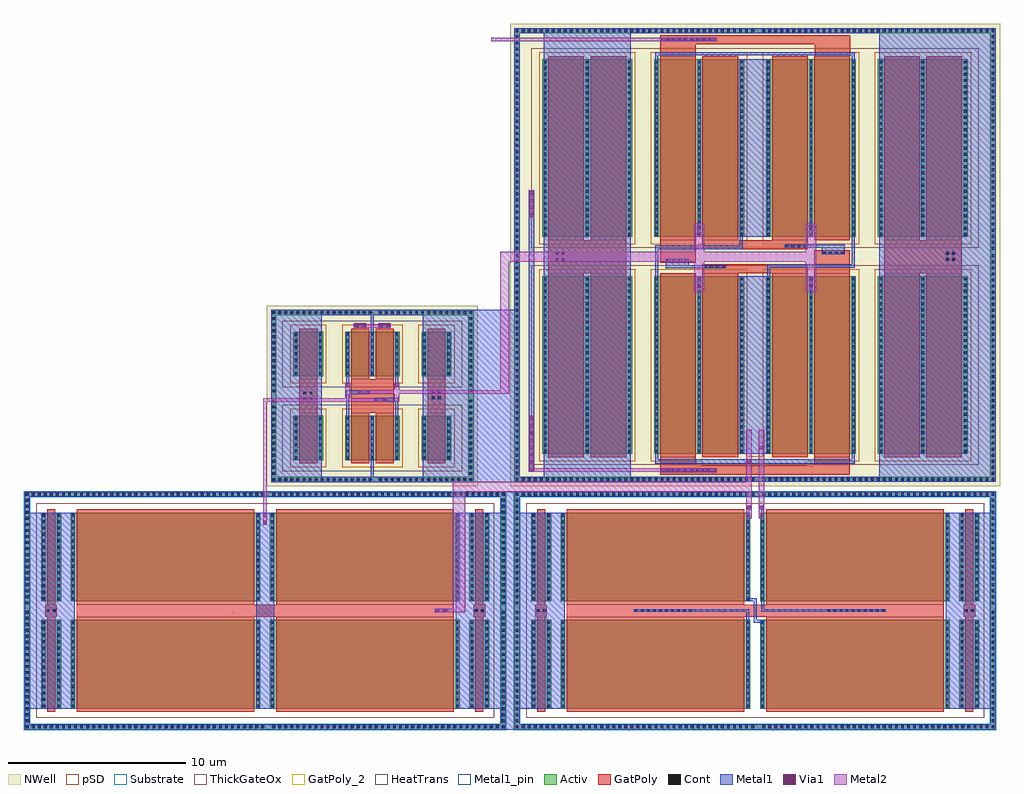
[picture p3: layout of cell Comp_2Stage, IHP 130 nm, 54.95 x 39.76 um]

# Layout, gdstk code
from math import pi, radians
import gdstk
lib = gdstk.Library(unit=1e-6, precision=1e-09)
def R(c, l, rs):  # rectangles x0, y0, x1, y1
    for r in rs: c.add(gdstk.rectangle(r[:2], r[2:], *l))
def A(c, l, x, y, w, h, nx, ny, dx, dy):  # array of equal rectangles
    R(c, l, [(x+i*dx, y+j*dy, x+i*dx+w, y+j*dy+h) for i in range(nx) for j in range(ny)])
def P(c, l, *ps):  # polygons
    for p in ps: c.add(gdstk.Polygon(p, *l))
Activ = (1, 0)
GatPoly = (5, 0)
GatPoly_2 = (5, 2)
Cont = (6, 0)
Metal1 = (8, 0)
Metal1_pin = (8, 2)
Metal2 = (10, 0)
pSD = (14, 0)
Via1 = (19, 0)
NWell = (31, 0)
Substrate = (40, 0)
ThickGateOx = (44, 0)
HeatTrans = (51, 0)

nmoshv_1 = lib.new_cell('nmosHV$1')
R(nmoshv_1, Activ, [(0,0,0.3,0.3), (0,0,10.68,5), (10.38,0,10.68,0.3)])
R(nmoshv_1, GatPoly, [(0.34,-0.18,10.34,5.18)])
R(nmoshv_1, GatPoly_2, [(0.34,-0.18,10.34,5.18)])
A(nmoshv_1, Cont, 0.07, 0.07, 0.16, 0.16, 1, 4, 0, 0.36)
A(nmoshv_1, Cont, 10.45, 0.07, 0.16, 0.16, 1, 4, 0, 0.36)
A(nmoshv_1, Cont, 0.07, 1.515, 0.16, 0.16, 1, 3, 0, 0.36)
A(nmoshv_1, Cont, 10.45, 1.515, 0.16, 0.16, 1, 3, 0, 0.36)
A(nmoshv_1, Cont, 0.07, 2.6, 0.16, 0.16, 1, 3, 0, 0.36)
A(nmoshv_1, Cont, 10.45, 2.6, 0.16, 0.16, 1, 3, 0, 0.36)
A(nmoshv_1, Cont, 0.07, 3.685, 0.16, 0.16, 1, 3, 0, 0.36)
A(nmoshv_1, Cont, 10.45, 3.685, 0.16, 0.16, 1, 3, 0, 0.36)
R(nmoshv_1, Cont, [(0.07,4.77,0.23,4.93), (10.45,4.77,10.61,4.93)])
R(nmoshv_1, Metal1, [(0.07,0,0.23,5), (10.45,0,10.61,5)])
R(nmoshv_1, Metal1_pin, [(0.07,0,0.23,5), (10.45,0,10.61,5)])
R(nmoshv_1, ThickGateOx, [(-0.27,-0.52,10.95,5.52)])
R(nmoshv_1, HeatTrans, [(0.34,-0.18,10.34,5.18)])
nmoshv_1.add(gdstk.Label('nmosHV', (5.34,2.5), layer=63, texttype=0))
nmoshv_1.add(gdstk.Label('nmosHV', (5.34,2.5), layer=51, texttype=0))

via_stack_6 = lib.new_cell('via_stack$6')
R(via_stack_6, GatPoly, [(-1.68,-0.15,1.68,0.15)])
A(via_stack_6, Cont, -1.61, -0.08, 0.16, 0.16, 10, 1, 0.34, 0)
R(via_stack_6, Metal1, [(-1.66,-0.08,1.66,0.08)])

guard_ring_5 = lib.new_cell('guard_ring$5')
R(guard_ring_5, Activ, [(-13.55,-6.4,-13.25,6.4), (13.25,-6.4,13.55,6.4), (-13.55,6.4,13.55,6.7)])
P(guard_ring_5, Activ, [(-13.55,-6.7),(-13.55,6.4),(-13.25,6.4),(-13.25,-6.4),(13.25,-6.4),(13.25,6.4),(-13.55,6.4),(-13.55,6.7),(13.55,6.7),(13.55,-6.7)])
A(guard_ring_5, Cont, -13.48, -6.63, 0.16, 0.16, 39, 2, 0.34, 13.1)
A(guard_ring_5, Cont, 0.06, -6.63, 0.16, 0.16, 40, 2, 0.34, 13.1)
A(guard_ring_5, Cont, -13.48, -6.29, 0.16, 0.16, 1, 18, 0, 0.34)
A(guard_ring_5, Cont, 13.32, -6.29, 0.16, 0.16, 1, 18, 0, 0.34)
A(guard_ring_5, Cont, -13.48, 0.01, 0.16, 0.16, 1, 19, 0, 0.34)
A(guard_ring_5, Cont, 13.32, 0.01, 0.16, 0.16, 1, 19, 0, 0.34)
R(guard_ring_5, Metal1, [(-13.55,-6.7,13.55,-6.4), (-13.55,-6.4,-13.25,6.4), (13.25,-6.4,13.55,6.4), (-13.55,6.4,13.55,6.7)])
R(guard_ring_5, pSD, [(-13.58,-6.37,-13.22,6.37), (13.22,-6.37,13.58,6.37), (-13.58,6.37,13.58,6.73)])
P(guard_ring_5, pSD, [(-13.58,-6.73),(-13.58,6.37),(-13.22,6.37),(-13.22,-6.37),(13.22,-6.37),(13.22,6.37),(-13.58,6.37),(-13.58,6.73),(13.58,6.73),(13.58,-6.73)])
R(guard_ring_5, Substrate, [(-13.58,-6.37,-13.22,6.37), (13.22,-6.37,13.58,6.37), (-13.58,6.37,13.58,6.73)])
P(guard_ring_5, Substrate, [(-13.58,-6.73),(-13.58,6.37),(-13.22,6.37),(-13.22,-6.37),(13.22,-6.37),(13.22,6.37),(-13.58,6.37),(-13.58,6.73),(13.58,6.73),(13.58,-6.73)])
guard_ring_5.add(gdstk.Label('sub!', (0,-6.55), layer=63, texttype=0))

pmoshv = lib.new_cell('pmosHV')
A(pmoshv, Activ, 0, 0, 0.3, 0.3, 3, 1, 2.38, 0)
R(pmoshv, Activ, [(0,0,5.06,10)])
R(pmoshv, GatPoly, [(0.34,-0.18,2.34,10.18), (2.72,-0.18,4.72,10.18)])
R(pmoshv, GatPoly_2, [(0.34,-0.18,2.34,10.18)])
A(pmoshv, Cont, 0.07, 0.07, 0.16, 0.16, 3, 4, 2.38, 0.345)
A(pmoshv, Cont, 0.07, 1.455, 0.16, 0.16, 3, 3, 2.38, 0.345)
A(pmoshv, Cont, 0.07, 2.495, 0.16, 0.16, 3, 4, 2.38, 0.345)
A(pmoshv, Cont, 0.07, 3.88, 0.16, 0.16, 3, 3, 2.38, 0.345)
A(pmoshv, Cont, 0.07, 4.92, 0.16, 0.16, 3, 4, 2.38, 0.345)
A(pmoshv, Cont, 0.07, 6.305, 0.16, 0.16, 3, 3, 2.38, 0.345)
A(pmoshv, Cont, 0.07, 7.345, 0.16, 0.16, 3, 4, 2.38, 0.345)
A(pmoshv, Cont, 0.07, 8.73, 0.16, 0.16, 3, 3, 2.38, 0.345)
A(pmoshv, Cont, 0.07, 9.77, 0.16, 0.16, 3, 1, 2.38, 0)
A(pmoshv, Metal1, 0.07, 0, 0.16, 10, 3, 1, 2.38, 0)
R(pmoshv, Metal1_pin, [(0.07,0,0.23,10), (2.45,0,2.61,10)])
R(pmoshv, pSD, [(-0.18,-0.4,5.24,10.4)])
R(pmoshv, NWell, [(-0.62,-0.62,5.68,10.62)])
R(pmoshv, ThickGateOx, [(-0.62,-0.62,5.68,10.62)])
R(pmoshv, HeatTrans, [(0.34,-0.18,2.34,10.18), (2.72,-0.18,4.72,10.18)])
pmoshv.add(gdstk.Label('pmosHV', (1.34,5), layer=63, texttype=0))
pmoshv.add(gdstk.Label('pmos', (1.34,5), layer=51, texttype=0))
pmoshv.add(gdstk.Label('pmos', (3.72,5), layer=51, texttype=0))

via_stack_3_1 = lib.new_cell('via_stack$3$1')
R(via_stack_3_1, GatPoly, [(-0.66,-0.15,0.66,0.15)])
A(via_stack_3_1, Cont, -0.59, -0.08, 0.16, 0.16, 4, 1, 0.34, 0)
R(via_stack_3_1, Metal1, [(-0.64,-0.08,0.64,0.08)])

via_stack_5_1 = lib.new_cell('via_stack$5$1')
R(via_stack_5_1, Metal1, [(-0.145,-0.105,0.145,0.105)])
R(via_stack_5_1, Metal2, [(-0.145,-0.1,0.145,0.1)])
R(via_stack_5_1, Via1, [(-0.095,-0.095,0.095,0.095)])

via_stack_10 = lib.new_cell('via_stack$10')
R(via_stack_10, GatPoly, [(-0.32,-0.32,0.32,0.32)])
R(via_stack_10, Cont, [(-0.25,-0.25,-0.09,-0.09), (0.09,-0.25,0.25,-0.09), (-0.25,0.09,-0.09,0.25), (0.09,0.09,0.25,0.25)])
R(via_stack_10, Metal1, [(-0.3,-0.25,0.3,0.25)])

nmoshv_3 = lib.new_cell('nmosHV$3')
R(nmoshv_3, Activ, [(0,0,0.3,0.3), (0,0,1.13,5), (0.83,0,1.13,0.3)])
R(nmoshv_3, GatPoly, [(0.34,-0.18,0.79,5.18)])
R(nmoshv_3, GatPoly_2, [(0.34,-0.18,0.79,5.18)])
A(nmoshv_3, Cont, 0.07, 0.07, 0.16, 0.16, 1, 4, 0, 0.36)
A(nmoshv_3, Cont, 0.9, 0.07, 0.16, 0.16, 1, 4, 0, 0.36)
A(nmoshv_3, Cont, 0.07, 1.515, 0.16, 0.16, 1, 3, 0, 0.36)
A(nmoshv_3, Cont, 0.9, 1.515, 0.16, 0.16, 1, 3, 0, 0.36)
A(nmoshv_3, Cont, 0.07, 2.6, 0.16, 0.16, 1, 3, 0, 0.36)
A(nmoshv_3, Cont, 0.9, 2.6, 0.16, 0.16, 1, 3, 0, 0.36)
A(nmoshv_3, Cont, 0.07, 3.685, 0.16, 0.16, 1, 3, 0, 0.36)
A(nmoshv_3, Cont, 0.9, 3.685, 0.16, 0.16, 1, 3, 0, 0.36)
R(nmoshv_3, Cont, [(0.07,4.77,0.23,4.93), (0.9,4.77,1.06,4.93)])
R(nmoshv_3, Metal1, [(0.07,0,0.23,5), (0.9,0,1.06,5)])
R(nmoshv_3, Metal1_pin, [(0.07,0,0.23,5), (0.9,0,1.06,5)])
R(nmoshv_3, ThickGateOx, [(-0.27,-0.52,1.4,5.52)])
R(nmoshv_3, HeatTrans, [(0.34,-0.18,0.79,5.18)])
nmoshv_3.add(gdstk.Label('nmosHV', (0.565,2.5), layer=63, texttype=0))
nmoshv_3.add(gdstk.Label('nmosHV', (0.565,2.5), layer=51, texttype=0))

via_stack_11 = lib.new_cell('via_stack$11')
R(via_stack_11, GatPoly, [(-0.32,-0.15,0.32,0.15)])
R(via_stack_11, Cont, [(-0.25,-0.08,-0.09,0.08), (0.09,-0.08,0.25,0.08)])
R(via_stack_11, Metal1, [(-0.3,-0.08,0.3,0.08)])

via_stack_4_1 = lib.new_cell('via_stack$4$1')
R(via_stack_4_1, GatPoly, [(-0.32,-0.15,0.32,0.15)])
R(via_stack_4_1, Cont, [(-0.25,-0.08,-0.09,0.08), (0.09,-0.08,0.25,0.08)])
R(via_stack_4_1, Metal1, [(-0.35,-0.105,0.35,0.105)])
R(via_stack_4_1, Metal2, [(-0.35,-0.1,0.35,0.1)])
R(via_stack_4_1, Via1, [(-0.3,-0.095,-0.11,0.095), (0.11,-0.095,0.3,0.095)])

pmoshv_2 = lib.new_cell('pmosHV$2')
A(pmoshv_2, Activ, 0, 0, 0.3, 0.3, 3, 1, 1.38, 0)
R(pmoshv_2, Activ, [(0,0,3.06,2.5)])
R(pmoshv_2, GatPoly, [(0.34,-0.18,1.34,2.68), (1.72,-0.18,2.72,2.68)])
R(pmoshv_2, GatPoly_2, [(0.34,-0.18,1.34,2.68)])
A(pmoshv_2, Cont, 0.07, 0.07, 0.16, 0.16, 3, 3, 1.38, 0.365)
A(pmoshv_2, Cont, 0.07, 1.17, 0.16, 0.16, 3, 3, 1.38, 0.365)
A(pmoshv_2, Cont, 0.07, 2.27, 0.16, 0.16, 3, 1, 1.38, 0)
A(pmoshv_2, Metal1, 0.07, 0, 0.16, 2.5, 3, 1, 1.38, 0)
R(pmoshv_2, Metal1_pin, [(0.07,0,0.23,2.5), (1.45,0,1.61,2.5)])
R(pmoshv_2, pSD, [(-0.18,-0.4,3.24,2.9)])
R(pmoshv_2, NWell, [(-0.62,-0.62,3.68,3.12)])
R(pmoshv_2, ThickGateOx, [(-0.62,-0.62,3.68,3.12)])
R(pmoshv_2, HeatTrans, [(0.34,-0.18,1.34,2.68), (1.72,-0.18,2.72,2.68)])
pmoshv_2.add(gdstk.Label('pmosHV', (0.84,1.25), layer=63, texttype=0))
pmoshv_2.add(gdstk.Label('pmos', (0.84,1.25), layer=51, texttype=0))
pmoshv_2.add(gdstk.Label('pmos', (2.22,1.25), layer=51, texttype=0))

pmoshv_4 = lib.new_cell('pmosHV$4')
R(pmoshv_4, Activ, [(0,0,0.3,0.3), (0,0,1.68,2.5), (1.38,0,1.68,0.3)])
R(pmoshv_4, GatPoly, [(0.34,-0.18,1.34,2.68)])
R(pmoshv_4, GatPoly_2, [(0.34,-0.18,1.34,2.68)])
A(pmoshv_4, Cont, 0.07, 0.07, 0.16, 0.16, 1, 3, 0, 0.365)
A(pmoshv_4, Cont, 1.45, 0.07, 0.16, 0.16, 1, 3, 0, 0.365)
A(pmoshv_4, Cont, 0.07, 1.17, 0.16, 0.16, 1, 3, 0, 0.365)
A(pmoshv_4, Cont, 1.45, 1.17, 0.16, 0.16, 1, 3, 0, 0.365)
R(pmoshv_4, Cont, [(0.07,2.27,0.23,2.43), (1.45,2.27,1.61,2.43)])
R(pmoshv_4, Metal1, [(0.07,0,0.23,2.5), (1.45,0,1.61,2.5)])
R(pmoshv_4, Metal1_pin, [(0.07,0,0.23,2.5), (1.45,0,1.61,2.5)])
R(pmoshv_4, pSD, [(-0.18,-0.4,1.86,2.9)])
R(pmoshv_4, NWell, [(-0.62,-0.62,2.3,3.12)])
R(pmoshv_4, ThickGateOx, [(-0.62,-0.62,2.3,3.12)])
R(pmoshv_4, HeatTrans, [(0.34,-0.18,1.34,2.68)])
pmoshv_4.add(gdstk.Label('pmosHV', (0.84,1.25), layer=63, texttype=0))
pmoshv_4.add(gdstk.Label('pmos', (0.84,1.25), layer=51, texttype=0))

via_stack_14 = lib.new_cell('via_stack$14')
R(via_stack_14, Metal1, [(-0.35,-0.105,0.35,0.105)])
R(via_stack_14, Metal2, [(-0.35,-0.1,0.35,0.1)])
R(via_stack_14, Via1, [(-0.3,-0.095,-0.11,0.095), (0.11,-0.095,0.3,0.095)])

guard_ring_3_1 = lib.new_cell('guard_ring$3$1')
R(guard_ring_3_1, Activ, [(-13.55,-12.475,-13.25,12.475), (13.25,-12.475,13.55,12.475), (-13.55,12.475,13.55,12.775)])
P(guard_ring_3_1, Activ, [(-13.55,-12.775),(-13.55,12.475),(-13.25,12.475),(-13.25,-12.475),(13.25,-12.475),(13.25,12.475),(-13.55,12.475),(-13.55,12.775),(13.55,12.775),(13.55,-12.775)])
A(guard_ring_3_1, Cont, -13.48, -12.705, 0.16, 0.16, 39, 2, 0.34, 25.25)
A(guard_ring_3_1, Cont, 0.06, -12.705, 0.16, 0.16, 40, 2, 0.34, 25.25)
A(guard_ring_3_1, Cont, -13.48, -12.365, 0.16, 0.16, 1, 36, 0, 0.34)
A(guard_ring_3_1, Cont, 13.32, -12.365, 0.16, 0.16, 1, 36, 0, 0.34)
A(guard_ring_3_1, Cont, -13.48, -0.035, 0.16, 0.16, 1, 37, 0, 0.34)
A(guard_ring_3_1, Cont, 13.32, -0.035, 0.16, 0.16, 1, 37, 0, 0.34)
R(guard_ring_3_1, Metal1, [(-13.55,-12.775,13.55,-12.475), (-13.55,-12.475,-13.25,12.475), (13.25,-12.475,13.55,12.475), (-13.55,12.475,13.55,12.775)])
R(guard_ring_3_1, NWell, [(-13.79,-13.015,13.79,13.015)])
guard_ring_3_1.add(gdstk.Label('well', (0,-12.625), layer=63, texttype=0))

guard_ring_4 = lib.new_cell('guard_ring$4')
R(guard_ring_4, Activ, [(-5.7,-4.55,-5.4,4.55), (5.4,-4.55,5.7,4.55), (-5.7,4.55,5.7,4.85)])
P(guard_ring_4, Activ, [(-5.7,-4.85),(-5.7,4.55),(-5.4,4.55),(-5.4,-4.55),(5.4,-4.55),(5.4,4.55),(-5.7,4.55),(-5.7,4.85),(5.7,4.85),(5.7,-4.85)])
A(guard_ring_4, Cont, -5.63, -4.78, 0.16, 0.16, 16, 2, 0.34, 9.4)
A(guard_ring_4, Cont, 0.03, -4.78, 0.16, 0.16, 17, 2, 0.34, 9.4)
A(guard_ring_4, Cont, -5.63, -4.44, 0.16, 0.16, 1, 13, 0, 0.34)
A(guard_ring_4, Cont, 5.47, -4.44, 0.16, 0.16, 1, 13, 0, 0.34)
A(guard_ring_4, Cont, -5.63, 0.2, 0.16, 0.16, 1, 13, 0, 0.34)
A(guard_ring_4, Cont, 5.47, 0.2, 0.16, 0.16, 1, 13, 0, 0.34)
R(guard_ring_4, Metal1, [(-5.7,-4.85,5.7,-4.55), (-5.7,-4.55,-5.4,4.55), (5.4,-4.55,5.7,4.55), (-5.7,4.55,5.7,4.85)])
R(guard_ring_4, NWell, [(-5.94,-5.09,5.94,5.09)])
guard_ring_4.add(gdstk.Label('well', (0,-4.7), layer=63, texttype=0))

via_stack_24 = lib.new_cell('via_stack$24')
R(via_stack_24, GatPoly, [(-1.34,-0.15,1.34,0.15)])
A(via_stack_24, Cont, -1.27, -0.08, 0.16, 0.16, 8, 1, 0.34, 0)
R(via_stack_24, Metal1, [(-1.58,-0.105,1.58,0.105)])
R(via_stack_24, Metal2, [(-1.58,-0.1,1.58,0.1)])
A(via_stack_24, Via1, -1.53, -0.095, 0.19, 0.19, 8, 1, 0.41, 0)

via_stack_25 = lib.new_cell('via_stack$25')
R(via_stack_25, Metal1, [(-0.105,-1.58,0.105,1.58)])
R(via_stack_25, Metal2, [(-0.1,-1.58,0.1,1.58)])
A(via_stack_25, Via1, -0.095, -1.53, 0.19, 0.19, 1, 8, 0, 0.41)

via_stack_27 = lib.new_cell('via_stack$27')
R(via_stack_27, Metal1, [(-0.105,-0.76,0.105,0.76)])
R(via_stack_27, Metal2, [(-0.1,-0.76,0.1,0.76)])
A(via_stack_27, Via1, -0.095, -0.71, 0.19, 0.19, 1, 4, 0, 0.41)

via_stack_29 = lib.new_cell('via_stack$29')
R(via_stack_29, GatPoly, [(-0.32,-0.15,0.32,0.15)])
R(via_stack_29, Cont, [(-0.25,-0.08,-0.09,0.08), (0.09,-0.08,0.25,0.08)])
R(via_stack_29, Metal1, [(-0.35,-0.105,0.35,0.105)])
R(via_stack_29, Metal2, [(-0.35,-0.1,0.35,0.1)])
R(via_stack_29, Via1, [(-0.3,-0.095,-0.11,0.095), (0.11,-0.095,0.3,0.095)])

via_stack_8 = lib.new_cell('via_stack$8')
R(via_stack_8, Metal1, [(-0.105,-0.35,0.105,0.35)])
R(via_stack_8, Metal2, [(-0.1,-0.35,0.1,0.35)])
R(via_stack_8, Via1, [(-0.095,-0.3,0.095,-0.11), (-0.095,0.11,0.095,0.3)])

comp_2stage = lib.new_cell('Comp_2Stage')
R(comp_2stage, GatPoly, [(-208.97,-56.455,-208.33,-55.775), (-207.205,-56.455,-185.985,-55.775), (-184.86,-56.455,-184.22,-55.775), (-181.38,-56.455,-180.74,-55.775), (-179.615,-56.455,-158.395,-55.775), (-157.27,-56.455,-156.63,-55.775), (-174.355,-48.475,-163.675,-47.975), (-174.355,-48.475,-172.355,-47.475), (-165.675,-48.475,-163.675,-47.475), (-194.67,-44.975,-193.67,-43.095), (-191.745,-44.975,-189.365,-43.095), (-187.45,-44.975,-186.45,-43.095), (-180.655,-37.115,-176.275,-35.26), (-171.975,-37.115,-166.055,-36.615), (-165.675,-37.115,-163.675,-35.835), (-161.755,-37.115,-157.375,-35.26), (-174.355,-36.54,-172.355,-35.26), (-171.975,-35.76,-166.055,-35.26), (-174.345,-24.9,-172.355,-23.72), (-165.665,-24.9,-163.665,-23.72), (-174.345,-24.22,-163.665,-23.72)])
P(comp_2stage, GatPoly, [(-167.55,-48.005),(-167.55,-48.005),(-167.55,-48.005),(-167.55,-48.005)])
P(comp_2stage, GatPoly_2, [(-176.25,-56.12),(-176.25,-56.12),(-176.25,-56.12),(-176.25,-56.12)],
  [(-176.275,-56.08),(-176.275,-56.08),(-176.275,-56.08),(-176.275,-56.08)],
  [(-203.84,-56.12),(-203.84,-56.12),(-203.84,-56.12),(-203.84,-56.12)],
  [(-203.865,-56.08),(-203.865,-56.08),(-203.865,-56.08),(-203.865,-56.08)])
R(comp_2stage, Metal1, [(-183.345,-62.815,-182.265,-49.415), (-210.145,-61.635,-207.315,-50.595), (-197.095,-61.635,-196.095,-50.595), (-185.875,-61.635,-183.045,-50.595), (-182.555,-61.635,-179.725,-50.595), (-169.505,-61.635,-169.345,-56.635), (-168.665,-61.635,-168.505,-56.635), (-158.285,-61.635,-155.455,-50.595), (-169.085,-56.795,-168.505,-56.635), (-169.085,-56.795,-168.925,-55.435), (-169.505,-56.655,-169.345,-56.035), (-175.845,-56.195,-169.345,-56.035), (-168.665,-56.195,-162.165,-56.035), (-168.665,-56.195,-168.505,-55.575), (-169.505,-55.595,-168.925,-55.435), (-169.505,-55.595,-169.345,-50.595), (-168.665,-55.595,-168.505,-50.595), (-169.505,-50.595,-169.345,-50.205), (-168.665,-50.595,-168.505,-50.205), (-190.64,-48.885,-190.48,-45.165), (-187.72,-48.885,-184.865,-39.185), (-185.19,-48.885,-182.265,-39.185), (-196.265,-48.88,-193.4,-39.18), (-180.925,-48.875,-176.005,-23.325), (-162.025,-48.87,-155.465,-23.32), (-181.745,-48.31,-181.445,-32.46), (-174.625,-47.845,-163.405,-47.605), (-174.625,-47.845,-174.465,-47.245), (-163.565,-47.845,-163.405,-47.245), (-169.865,-47.295,-168.165,-37.295), (-189.26,-45.205,-189.1,-44.145), (-192.02,-45.2,-191.86,-43.715), (-189.76,-44.355,-189.11,-44.145), (-192.02,-43.925,-191.345,-43.715), (-192.02,-43.53,-191.86,-42.915), (-189.26,-43.53,-189.1,-42.915), (-190.64,-42.905,-190.48,-39.185), (-174.625,-37.365,-174.465,-35.55), (-168.325,-37.355,-168.165,-36.605), (-174.035,-36.845,-172.755,-36.32), (-174.035,-36.845,-171.9,-36.685), (-168.325,-36.825,-163.405,-36.605), (-163.565,-36.825,-163.405,-35.01), (-165.25,-36.06,-163.97,-35.53), (-174.625,-35.77,-169.705,-35.55), (-169.865,-35.77,-169.705,-35.015), (-166.12,-35.69,-163.97,-35.53), (-169.865,-35.08,-168.165,-25.08), (-163.565,-25.155,-163.405,-24.68), (-174.625,-25.15,-174.465,-24.68), (-174.625,-24.84,-163.405,-24.68)])
P(comp_2stage, Metal1, [(-170.815,-56.09),(-170.815,-56.09),(-170.815,-56.09),(-170.815,-56.09)],
  [(-170.815,-56.225),(-170.815,-56.21),(-170.815,-56.21),(-170.815,-56.225)],
  [(-165.645,-36.825),(-165.645,-36.825),(-165.645,-36.825),(-165.645,-36.825)],
  [(-198.405,-56.09),(-198.405,-56.09),(-198.405,-56.09),(-198.405,-56.09)],
  [(-198.405,-56.225),(-198.405,-56.21),(-198.405,-56.21),(-198.405,-56.225)],
  [(-190.48,-48.145),(-190.48,-48.145),(-190.48,-48.145),(-190.48,-48.145)],
  [(-190.48,-48.145),(-190.48,-48.145),(-190.48,-48.145),(-190.48,-48.145)],
  [(-193.66,-48.39),(-193.66,-48.39),(-193.66,-48.39),(-193.66,-48.39)])
R(comp_2stage, Metal2, [(-187.05,-56.215,-185.345,-56.015), (-186.045,-56.215,-185.345,-48.875), (-196.695,-51.295,-196.495,-44.15), (-169.505,-50.93,-169.215,-45.93), (-168.795,-50.93,-168.505,-45.93), (-186.045,-49.415,-169.215,-48.875), (-169.505,-49.415,-169.215,-48.875), (-181.695,-48.31,-174.33,-48.11), (-196.695,-44.35,-190.12,-44.15), (-192.095,-44.35,-189.76,-44.15), (-192.095,-44.35,-191.805,-43.325), (-189.335,-44.35,-189.045,-43.325), (-191.385,-43.92,-183.47,-43.72), (-183.47,-43.92,-182.865,-43.72), (-183.365,-43.92,-182.865,-35.9), (-191.6,-40.185,-189.52,-39.985), (-172.45,-38.2,-171.88,-34.315), (-166.15,-38.2,-165.58,-34.315), (-183.365,-36.47,-172.45,-35.9), (-172.45,-36.47,-165.58,-35.9), (-183.86,-24.06,-171.17,-23.86)])
P(comp_2stage, Metal2, [(-169.455,-45.23),(-169.455,-45.23),(-169.455,-45.23),(-169.455,-45.23)],
  [(-190.96,-44.27),(-190.96,-44.27),(-190.96,-44.27),(-190.96,-44.27)])
R(comp_2stage, pSD, [(-172.025,-47.925,-166.105,-47.425)])
comp_2stage.add(gdstk.Reference(nmoshv_1, (-169.275,-50.595), rotation=pi))
comp_2stage.add(gdstk.Reference(nmoshv_1, (-169.275,-56.635), rotation=pi))
comp_2stage.add(gdstk.Reference(nmoshv_1, (-158.055,-50.595), rotation=pi))
comp_2stage.add(gdstk.Reference(nmoshv_1, (-158.055,-56.635), rotation=pi))
comp_2stage.add(gdstk.Reference(via_stack_6, (-174.185,-56.115), rotation=pi))
comp_2stage.add(gdstk.Reference(via_stack_6, (-163.33,-56.115), rotation=pi))
comp_2stage.add(gdstk.Reference(guard_ring_5, (-169.015,-56.115), rotation=pi))
comp_2stage.add(gdstk.Reference(pmoshv, (-174.695,-35.08)))
comp_2stage.add(gdstk.Reference(pmoshv, (-168.395,-35.08)))
comp_2stage.add(gdstk.Reference(pmoshv, (-162.095,-35.08)))
comp_2stage.add(gdstk.Reference(pmoshv, (-162.095,-47.295)))
comp_2stage.add(gdstk.Reference(pmoshv, (-174.695,-47.295)))
comp_2stage.add(gdstk.Reference(pmoshv, (-180.995,-35.08)))
comp_2stage.add(gdstk.Reference(pmoshv, (-180.995,-47.295)))
comp_2stage.add(gdstk.Reference(via_stack_3_1, (-173.395,-36.39), rotation=pi))
comp_2stage.add(gdstk.Reference(via_stack_3_1, (-171.315,-36.765), rotation=pi))
comp_2stage.add(gdstk.Reference(via_stack_3_1, (-166.715,-35.61), rotation=pi))
comp_2stage.add(gdstk.Reference(via_stack_3_1, (-164.61,-35.985), rotation=pi))
comp_2stage.add(gdstk.Reference(via_stack_5_1, (-169.36,-50.31), rotation=pi))
comp_2stage.add(gdstk.Reference(via_stack_5_1, (-168.65,-50.31), rotation=pi))
comp_2stage.add(gdstk.Reference(via_stack_5_1, (-169.36,-47.725), rotation=pi))
comp_2stage.add(gdstk.Reference(via_stack_5_1, (-168.65,-46.95), rotation=pi))
comp_2stage.add(gdstk.Reference(via_stack_10, (-180,-36.185), rotation=pi))
comp_2stage.add(gdstk.Reference(via_stack_10, (-158.015,-36.17), rotation=pi))
comp_2stage.add(gdstk.Reference(nmoshv_3, (-156.385,-50.595), rotation=pi))
comp_2stage.add(gdstk.Reference(nmoshv_3, (-156.385,-56.635), rotation=pi))
comp_2stage.add(gdstk.Reference(via_stack_11, (-156.95,-56.115), rotation=pi))
comp_2stage.add(gdstk.Reference(nmoshv_3, (-180.495,-50.595), rotation=pi))
comp_2stage.add(gdstk.Reference(nmoshv_3, (-180.495,-56.635), rotation=pi))
comp_2stage.add(gdstk.Reference(via_stack_11, (-181.06,-56.115), rotation=pi))
comp_2stage.add(gdstk.Reference(nmoshv_1, (-196.865,-50.595), rotation=pi))
comp_2stage.add(gdstk.Reference(nmoshv_1, (-196.865,-56.635), rotation=pi))
comp_2stage.add(gdstk.Reference(nmoshv_1, (-185.645,-50.595), rotation=pi))
comp_2stage.add(gdstk.Reference(nmoshv_1, (-185.645,-56.635), rotation=pi))
comp_2stage.add(gdstk.Reference(via_stack_4_1, (-186.7,-56.115), rotation=pi))
comp_2stage.add(gdstk.Reference(pmoshv_2, (-189.03,-40.415), rotation=pi))
comp_2stage.add(gdstk.Reference(guard_ring_5, (-196.595,-56.115), rotation=pi))
comp_2stage.add(gdstk.Reference(pmoshv_2, (-189.03,-45.155), rotation=pi))
comp_2stage.add(gdstk.Reference(nmoshv_3, (-183.975,-50.595), rotation=pi))
comp_2stage.add(gdstk.Reference(nmoshv_3, (-183.975,-56.635), rotation=pi))
comp_2stage.add(gdstk.Reference(via_stack_11, (-184.54,-56.115), rotation=pi))
comp_2stage.add(gdstk.Reference(nmoshv_3, (-208.085,-50.595), rotation=pi))
comp_2stage.add(gdstk.Reference(nmoshv_3, (-208.085,-56.635), rotation=pi))
comp_2stage.add(gdstk.Reference(via_stack_11, (-208.65,-56.115), rotation=pi))
comp_2stage.add(gdstk.Reference(pmoshv_4, (-186.11,-45.155), rotation=pi))
comp_2stage.add(gdstk.Reference(pmoshv_4, (-193.33,-40.415), rotation=pi))
comp_2stage.add(gdstk.Reference(pmoshv_4, (-193.33,-45.155), rotation=pi))
comp_2stage.add(gdstk.Reference(via_stack_10, (-186.96,-43.965), rotation=pi))
comp_2stage.add(gdstk.Reference(pmoshv_4, (-186.11,-40.415), rotation=pi))
comp_2stage.add(gdstk.Reference(via_stack_10, (-194.19,-44.035), rotation=pi))
comp_2stage.add(gdstk.Reference(via_stack_14, (-191.035,-43.82), rotation=pi))
comp_2stage.add(gdstk.Reference(via_stack_14, (-190.11,-44.25), rotation=pi))
comp_2stage.add(gdstk.Reference(via_stack_5_1, (-191.95,-43.425), rotation=pi))
comp_2stage.add(gdstk.Reference(via_stack_5_1, (-189.19,-43.425), rotation=pi))
comp_2stage.add(gdstk.Reference(guard_ring_3_1, (-169.015,-36.1), rotation=pi))
comp_2stage.add(gdstk.Reference(guard_ring_4, (-190.565,-44.035), rotation=pi))
comp_2stage.add(gdstk.Reference(via_stack_24, (-172.75,-48.21)))
comp_2stage.add(gdstk.Reference(via_stack_25, (-181.595,-46.73)))
comp_2stage.add(gdstk.Reference(via_stack_27, (-181.595,-33.22)))
comp_2stage.add(gdstk.Reference(via_stack_24, (-172.75,-23.96)))
comp_2stage.add(gdstk.Reference(via_stack_29, (-191.25,-40.085)))
comp_2stage.add(gdstk.Reference(via_stack_29, (-189.87,-40.085)))
comp_2stage.add(gdstk.Reference(via_stack_8, (-196.595,-50.945)))
comp_2stage.add(gdstk.Reference(pmoshv, (-168.395,-47.295)))
comp_2stage.add(gdstk.Reference(via_stack_8, (-172.17,-34.73)))
comp_2stage.add(gdstk.Reference(via_stack_8, (-172.17,-37.645)))
comp_2stage.add(gdstk.Reference(via_stack_8, (-165.87,-34.73)))
comp_2stage.add(gdstk.Reference(via_stack_8, (-165.865,-37.645)))

lib.write_gds('Comp_2Stage.gds')
